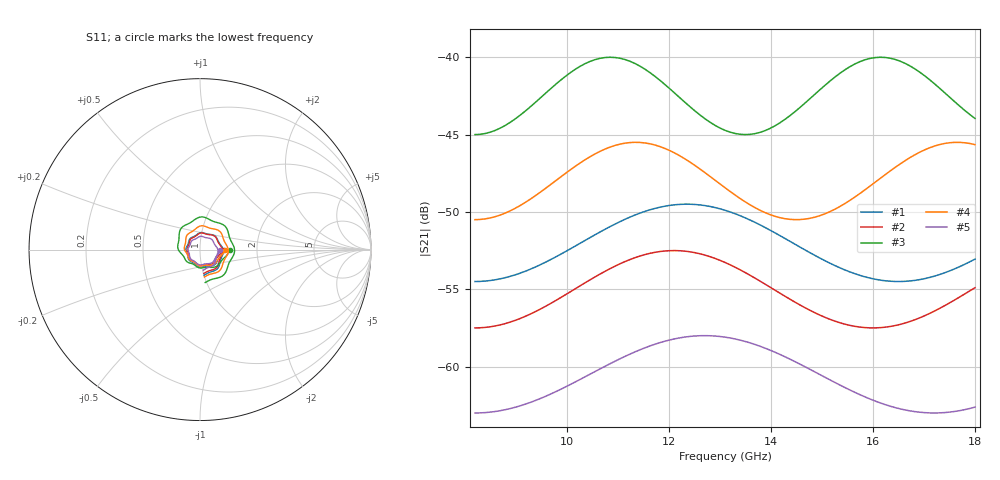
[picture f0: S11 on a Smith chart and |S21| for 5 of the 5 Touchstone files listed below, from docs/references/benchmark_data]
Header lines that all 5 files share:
# Hz S RI R 50
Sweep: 8.2 GHz to 18 GHz
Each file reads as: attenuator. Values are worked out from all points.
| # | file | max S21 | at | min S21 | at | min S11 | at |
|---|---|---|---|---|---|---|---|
| 1 | li_2026_measured.s2p | -49.50 dB | 12.32 GHz | -54.5 dB | 8.2 GHz | -22.3 dB | 12.71 GHz |
| 2 | ma_2025_measured.s2p | -52.50 dB | 12.12 GHz | -57.5 dB | 8.2 GHz | -23.1 dB | 11.83 GHz |
| 3 | smith_2020_measured.s2p | -40.00 dB | 10.85 GHz | -45.0 dB | 8.2 GHz | -20.5 dB | 10.75 GHz |
| 4 | wang_2024_measured.s2p | -45.50 dB | 11.34 GHz | -50.5 dB | 8.2 GHz | -22.0 dB | 11.73 GHz |
| 5 | zhang_2025_measured.s2p | -58.00 dB | 12.71 GHz | -63.0 dB | 8.2 GHz | -23.8 dB | 12.71 GHz |
